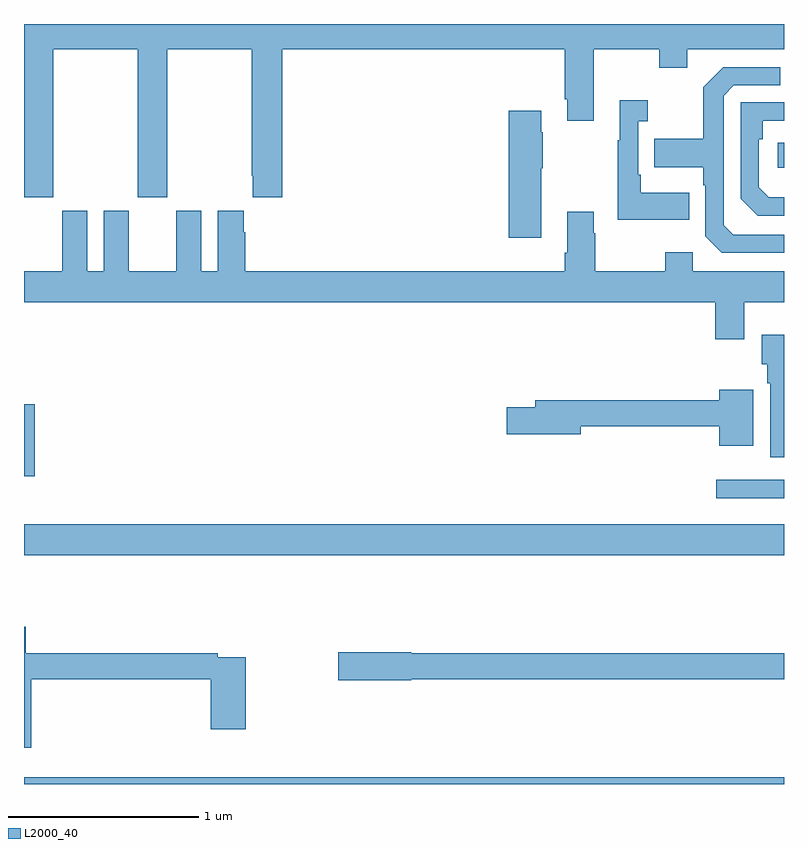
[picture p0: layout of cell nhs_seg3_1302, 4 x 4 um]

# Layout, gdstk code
import gdstk
lib = gdstk.Library(unit=1e-6, precision=1e-09)
def R(c, l, rs):  # rectangles x0, y0, x1, y1
    for r in rs: c.add(gdstk.rectangle(r[:2], r[2:], *l))
def P(c, l, *ps):  # polygons
    for p in ps: c.add(gdstk.Polygon(p, *l))
L2000_40 = (2000, 40)

nhs_seg3_1302 = lib.new_cell('nhs_seg3_1302')
R(nhs_seg3_1302, L2000_40, [(179,678.4,183,678.436), (179,679.604,183,679.768), (182.643,679.904,183,680.001), (179,680.019,179.057,680.4), (182.967,681.644,183,681.774)])
P(nhs_seg3_1302, L2000_40, [(179.154,682.268),(179.599,682.268),(179.599,681.489),(179.754,681.489),(179.754,682.268),(180.199,682.268),(180.199,681.601),(180.203,681.601),(180.203,681.489),(180.359,681.489),(180.359,682.268),(181.847,682.268),(181.847,682.003),(181.859,682.003),(181.859,681.891),(181.999,681.891),(181.999,682.268),(182.344,682.268),(182.344,682.169),(182.491,682.169),(182.491,682.268),(183,682.268),(183,682.4),(179,682.4),(179,681.489),(179.154,681.489)],
  [(183,681.291),(182.733,681.291),(182.682,681.342),(182.682,682.023),(182.736,682.077),(182.98,682.077),(182.98,682.173),(182.679,682.173),(182.574,682.067),(182.574,681.795),(182.317,681.795),(182.317,681.647),(182.574,681.647),(182.574,681.551),(182.586,681.551),(182.586,681.282),(182.673,681.195),(183,681.195)],
  [(182.501,681.511),(182.245,681.511),(182.245,681.607),(182.232,681.607),(182.232,681.887),(182.284,681.887),(182.284,682),(182.135,682),(182.135,681.787),(182.124,681.787),(182.124,681.371),(182.501,681.371)],
  [(183,681.487),(182.921,681.487),(182.868,681.54),(182.868,681.794),(182.888,681.794),(182.888,681.891),(183,681.891),(183,681.987),(182.772,681.987),(182.772,681.48),(182.862,681.39),(183,681.39)],
  [(181.723,681.641),(181.731,681.641),(181.731,681.83),(181.723,681.83),(181.723,681.943),(181.55,681.943),(181.55,681.276),(181.723,681.276)],
  [(182.791,680.936),(183,680.936),(183,681.1),(182.52,681.1),(182.52,681.199),(182.374,681.199),(182.374,681.1),(182.007,681.1),(182.007,681.299),(181.999,681.299),(181.999,681.412),(181.859,681.412),(181.859,681.196),(181.847,681.196),(181.847,681.1),(180.164,681.1),(180.164,681.305),(180.157,681.305),(180.157,681.418),(180.02,681.418),(180.02,681.1),(179.932,681.1),(179.932,681.418),(179.801,681.418),(179.801,681.1),(179.551,681.1),(179.551,681.418),(179.42,681.418),(179.42,681.1),(179.332,681.1),(179.332,681.418),(179.201,681.418),(179.201,681.1),(179,681.1),(179,680.936),(182.639,680.936),(182.639,680.742),(182.791,680.742)],
  [(183,680.764),(182.882,680.764),(182.882,680.61),(182.912,680.61),(182.912,680.51),(182.927,680.51),(182.927,680.121),(183,680.121)],
  [(182.839,680.476),(182.66,680.476),(182.66,680.42),(181.691,680.42),(181.691,680.384),(181.542,680.384),(181.542,680.242),(181.93,680.242),(181.93,680.284),(182.66,680.284),(182.66,680.18),(182.839,680.18)],
  [(179.039,678.952),(179.984,678.952),(179.984,678.687),(180.167,678.687),(180.167,679.068),(180.02,679.068),(180.02,679.088),(179.009,679.088),(179.009,679.228),(179,679.228),(179,678.59),(179.039,678.59)],
  [(181.038,678.952),(183,678.952),(183,679.088),(181.038,679.088),(181.038,679.094),(180.654,679.094),(180.654,678.947),(181.038,678.947)])

lib.write_gds('nhs_seg3_1302.gds')
